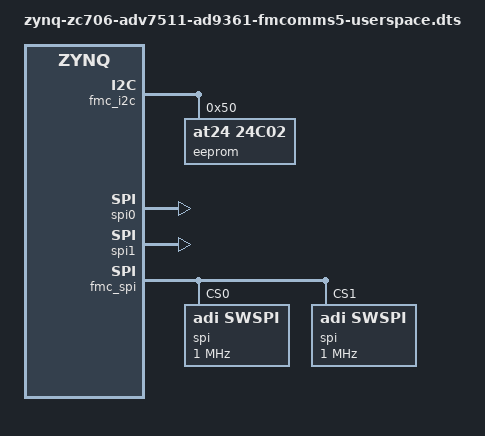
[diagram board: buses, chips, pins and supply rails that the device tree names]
/dts-v1/;

#include "zynq-zc706.dtsi"
#include "zynq-zc706-adv7511.dtsi"

&i2c_mux {
	fmc_i2c: i2c@6 {
		#size-cells = <0>;
		#address-cells = <1>;
		reg = <6>;

		eeprom@50 {
			compatible = "at24,24c02";
			reg = <0x50>;
		};
	};
};

&spi0 {
	status = "okay";
};

&spi1 {
	status = "okay";
};

#define fmc_spi spi0
#define pmod_spi spi1

&fmc_spi {
	spi@0 {
		compatible = "adi,swspi";
		spi-cpha;
		reg = <0x0>;
		spi-max-frequency = <1000000>;
	};
	spi@1 {
		compatible = "adi,swspi";
		spi-cpha;
		reg = <0x1>;
		spi-max-frequency = <1000000>;
	};
};

&fpga_axi {
	ad9361_rx@79020000 {
		compatible = "dmem-uio";
		reg = <0x79020000 0x6000>;
	};

	ad9361_tx@79024000 {
		compatible = "dmem-uio";
		reg = <0x79024000 0x2000>;
	};

	rx_dma@7c400000 {
		compatible = "dmem-uio";
		reg = <0x7c400000 0x10000>;
		uio,number-of-dynamic-regions = <1>;
		uio,dynamic-regions-sizes = <262144>;
	};

	tx_dma@7c420000 {
		compatible = "dmem-uio";
		reg = <0x7c420000 0x10000>;
		uio,number-of-dynamic-regions = <1>;
		uio,dynamic-regions-sizes = <262144>;
	};

	ad9361_b_rx@79040000 {
		compatible = "dmem-uio";
		reg = <0x79040000 0x6000>;
	};

	ad9361_b_tx@79044000 {
		compatible = "dmem-uio";
		reg = <0x79044000 0x2000>;
	};
};

